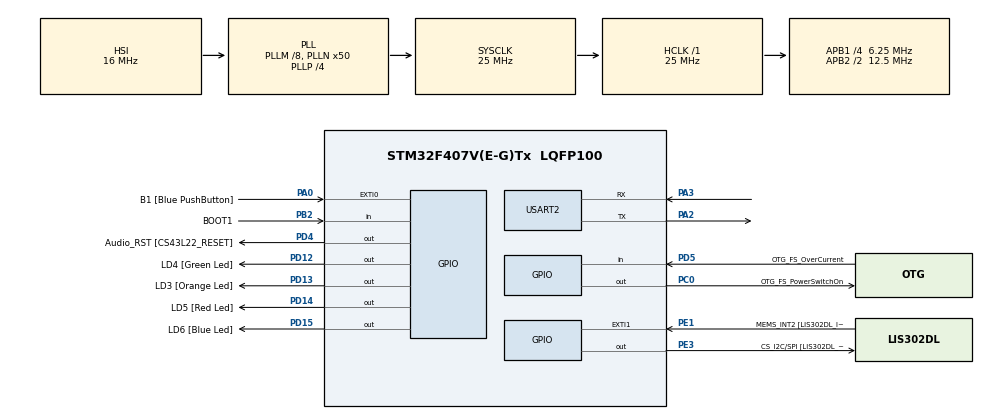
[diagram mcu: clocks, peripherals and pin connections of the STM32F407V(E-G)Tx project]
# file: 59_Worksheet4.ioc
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Mcu.Family=STM32F4
Mcu.Name=STM32F407V(E-G)Tx
Mcu.Package=LQFP100
NVIC.EXTI0_IRQn=true\:0\:0\:false\:false\:true\:true\:true\:true
NVIC.PriorityGroup=NVIC_PRIORITYGROUP_0
NVIC.USART2_IRQn=true\:0\:0\:false\:false\:true\:true\:true\:true
PA0-WKUP.GPIO_Label=B1 [Blue PushButton]
PA0-WKUP.Signal=GPXTI0
PA10.GPIO_Label=OTG_FS_ID
PA10.GPIO_Mode=GPIO_MODE_AF_PP
PA10.GPIO_PuPd=GPIO_NOPULL
PA10.GPIO_Speed=GPIO_SPEED_FREQ_LOW
PA10.Signal=USB_OTG_FS_ID
PA11.GPIO_Label=OTG_FS_DM
PA11.GPIO_Mode=GPIO_MODE_AF_PP
PA11.GPIO_PuPd=GPIO_NOPULL
PA11.GPIO_Speed=GPIO_SPEED_FREQ_LOW
PA11.Signal=USB_OTG_FS_DM
PA12.GPIO_Label=OTG_FS_DP
PA12.GPIO_Mode=GPIO_MODE_AF_PP
PA12.GPIO_PuPd=GPIO_NOPULL
PA12.GPIO_Speed=GPIO_SPEED_FREQ_LOW
PA12.Signal=USB_OTG_FS_DP
PA13.GPIO_Label=SWDIO
PA13.Signal=SYS_JTMS-SWDIO
PA14.GPIO_Label=SWCLK
PA14.Signal=SYS_JTCK-SWCLK
PA2.Mode=Asynchronous
PA2.Signal=USART2_TX
PA3.Mode=Asynchronous
PA3.Signal=USART2_RX
PA4.GPIO_Label=I2S3_WS [CS43L22_LRCK]
PA4.GPIO_Mode=GPIO_MODE_AF_PP
PA4.GPIO_PuPd=GPIO_NOPULL
PA4.GPIO_Speed=GPIO_SPEED_FREQ_LOW
PA4.Signal=I2S3_WS
PA5.GPIO_Label=SPI1_SCK [LIS302DL_SCL/SPC]
PA5.GPIO_Mode=GPIO_MODE_AF_PP
PA5.GPIO_PuPd=GPIO_NOPULL
PA5.GPIO_Speed=GPIO_SPEED_FREQ_LOW
PA5.Signal=SPI1_SCK
PA6.GPIO_Label=SPI1_MISO [LIS302DL_SDO]
PA6.GPIO_Mode=GPIO_MODE_AF_PP
PA6.GPIO_PuPd=GPIO_NOPULL
PA6.GPIO_Speed=GPIO_SPEED_FREQ_LOW
PA6.Signal=SPI1_MISO
PA7.GPIO_Label=SPI1_MOSI [LIS302DL_SDA/SDI/SDO]
PA7.GPIO_Mode=GPIO_MODE_AF_PP
PA7.GPIO_PuPd=GPIO_NOPULL
PA7.GPIO_Speed=GPIO_SPEED_FREQ_LOW
PA7.Signal=SPI1_MOSI
PA9.GPIO_Label=VBUS_FS
PA9.GPIO_Mode=GPIO_MODE_INPUT
PA9.GPIO_PuPd=GPIO_NOPULL
PA9.Signal=USB_OTG_FS_VBUS
PB10.GPIO_Label=CLK_IN [MP45DT02_CLK]
PB10.GPIO_Mode=GPIO_MODE_AF_PP
PB10.GPIO_PuPd=GPIO_NOPULL
PB10.GPIO_Speed=GPIO_SPEED_FREQ_LOW
PB10.Signal=I2S2_CK
PB2.GPIO_Label=BOOT1
PB2.GPIO_Mode=GPIO_MODE_INPUT
PB2.GPIO_PuPd=GPIO_NOPULL
PB2.Signal=GPIO_Input
PB3.GPIO_Label=SWO
PB3.Signal=SYS_JTDO-SWO
PB6.GPIO_Label=Audio_SCL [CS43L22_SCL]
PB6.GPIO_Mode=GPIO_MODE_AF_OD
PB6.GPIO_PuPd=GPIO_NOPULL
PB6.GPIO_Speed=GPIO_SPEED_FREQ_LOW
PB6.Signal=I2C1_SCL
PB9.GPIO_Label=Audio_SDA [CS43L22_SDA]
PB9.GPIO_Mode=GPIO_MODE_AF_OD
PB9.GPIO_PuPd=GPIO_NOPULL
PB9.GPIO_Speed=GPIO_SPEED_FREQ_LOW
PB9.Signal=I2C1_SDA
PC0.GPIO_Label=OTG_FS_PowerSwitchOn
PC0.GPIO_PuPd=GPIO_NOPULL
PC0.GPIO_Speed=GPIO_SPEED_FREQ_LOW
PC0.PinState=GPIO_PIN_SET
PC0.Signal=GPIO_Output
PC10.GPIO_Label=I2S3_SCK [CS43L22_SCLK]
PC10.GPIO_Mode=GPIO_MODE_AF_PP
PC10.GPIO_PuPd=GPIO_NOPULL
PC10.GPIO_Speed=GPIO_SPEED_FREQ_LOW
PC10.Signal=I2S3_CK
PC12.GPIO_Label=I2S3_SD [CS43L22_SDIN]
PC12.GPIO_Mode=GPIO_MODE_AF_PP
PC12.GPIO_PuPd=GPIO_NOPULL
PC12.GPIO_Speed=GPIO_SPEED_FREQ_LOW
PC12.Signal=I2S3_SD
PC14-OSC32_IN.GPIO_Label=PC14-OSC32_IN
PC14-OSC32_IN.Signal=RCC_OSC32_IN
PC15-OSC32_OUT.GPIO_Label=PC15-OSC32_OUT
PC15-OSC32_OUT.Signal=RCC_OSC32_OUT
PC3.GPIO_Label=PDM_OUT [MP45DT02_DOUT]
PC3.GPIO_Mode=GPIO_MODE_AF_PP
PC3.GPIO_PuPd=GPIO_NOPULL
PC3.GPIO_Speed=GPIO_SPEED_FREQ_LOW
PC3.Signal=I2S2_SD
PC7.GPIO_Label=I2S3_MCK [CS43L22_MCLK]
PC7.GPIO_Mode=GPIO_MODE_AF_PP
PC7.GPIO_PuPd=GPIO_NOPULL
PC7.GPIO_Speed=GPIO_SPEED_FREQ_LOW
PC7.Signal=I2S3_MCK
PD12.GPIO_Label=LD4 [Green Led]
PD12.GPIO_PuPd=GPIO_NOPULL
PD12.GPIO_Speed=GPIO_SPEED_FREQ_LOW
PD12.Signal=GPIO_Output
PD13.GPIO_Label=LD3 [Orange Led]
PD13.GPIO_PuPd=GPIO_NOPULL
PD13.GPIO_Speed=GPIO_SPEED_FREQ_LOW
PD13.Signal=GPIO_Output
PD14.GPIO_Label=LD5 [Red Led]
PD14.GPIO_PuPd=GPIO_NOPULL
PD14.GPIO_Speed=GPIO_SPEED_FREQ_LOW
PD14.Signal=GPIO_Output
PD15.GPIO_Label=LD6 [Blue Led]
PD15.GPIO_PuPd=GPIO_NOPULL
PD15.GPIO_Speed=GPIO_SPEED_FREQ_LOW
PD15.Signal=GPIO_Output
PD4.GPIO_Label=Audio_RST [CS43L22_RESET]
PD4.GPIO_PuPd=GPIO_NOPULL
PD4.GPIO_Speed=GPIO_SPEED_FREQ_LOW
PD4.Signal=GPIO_Output
PD5.GPIO_Label=OTG_FS_OverCurrent
PD5.GPIO_Mode=GPIO_MODE_INPUT
PD5.GPIO_PuPd=GPIO_NOPULL
PD5.Signal=GPIO_Input
PE1.GPIO_Label=MEMS_INT2 [LIS302DL_INT2]
PE1.GPIO_ModeDefaultEXTI=GPIO_MODE_EVT_RISING
PE1.GPIO_PuPd=GPIO_NOPULL
PE1.Signal=GPXTI1
PE3.GPIO_Label=CS_I2C/SPI [LIS302DL_CS_I2C/SPI]
PE3.GPIO_PuPd=GPIO_NOPULL
PE3.GPIO_Speed=GPIO_SPEED_FREQ_LOW
PE3.Signal=GPIO_Output
PH0-OSC_IN.GPIO_Label=PH0-OSC_IN
PH0-OSC_IN.Signal=RCC_OSC_IN
PH1-OSC_OUT.GPIO_Label=PH1-OSC_OUT
PH1-OSC_OUT.Signal=RCC_OSC_OUT
ProjectManager.HeapSize=0x200
ProjectManager.StackSize=0x400
ProjectManager.TargetToolchain=STM32CubeIDE
RCC.48MHZClocksFreq_Value=14285714.285714285
RCC.AHBFreq_Value=25000000
RCC.APB1CLKDivider=RCC_HCLK_DIV4
RCC.APB1Freq_Value=6250000
RCC.APB1TimFreq_Value=12500000
RCC.APB2CLKDivider=RCC_HCLK_DIV2
RCC.APB2Freq_Value=12500000
RCC.APB2TimFreq_Value=25000000
RCC.CortexFreq_Value=25000000
RCC.HCLKFreq_Value=25000000
RCC.HSE_VALUE=8000000
RCC.HSI_VALUE=16000000
RCC.LSE_VALUE=32768
RCC.PLLM=8
RCC.PLLN=50
RCC.PLLP=RCC_PLLP_DIV4
RCC.PLLQ=7
RCC.SYSCLKFreq_VALUE=25000000
RCC.SYSCLKSource=RCC_SYSCLKSOURCE_PLLCLK
RCC.VCOOutputFreq_Value=100000000
USART2.VirtualMode=VM_ASYNC
board=STM32F407G-DISC1

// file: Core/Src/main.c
/* USER CODE BEGIN Header */
/**
  ******************************************************************************
  * @file           : main.c
  * @brief          : Main program body
  ******************************************************************************
  * @attention
  *
  * Copyright (c) 2026 STMicroelectronics.
  * All rights reserved.
  *
  * This software is licensed under terms that can be found in the LICENSE file
  * in the root directory of this software component.
  * If no LICENSE file comes with this software, it is provided AS-IS.
  *
  ******************************************************************************
  */
/* USER CODE END Header */
#include "main.h"
#include <string.h>
#include <stdio.h>

UART_HandleTypeDef huart2;

/* USER CODE BEGIN PV */
char rx_data;
char rx_buffer[20];
uint8_t rx_index = 0;

char tx_msg[100];

uint8_t alert_flag = 0;
/* USER CODE END PV */

void SystemClock_Config(void);
static void MX_GPIO_Init(void);
static void MX_USART2_UART_Init(void);

int main(void)
{

  /* MCU Configuration--------------------------------------------------------*/

  /* Reset of all peripherals, Initializes the Flash interface and the Systick. */
  HAL_Init();

  /* Configure the system clock */
  SystemClock_Config();

  /* Initialize all configured peripherals */
  MX_GPIO_Init();
  MX_USART2_UART_Init();
  /* USER CODE BEGIN 2 */
  HAL_UART_Receive_IT(&huart2, (uint8_t *)&rx_data, 1);

  sprintf(tx_msg,"SMS Notifier Started\r\n");
  HAL_UART_Transmit(&huart2,(uint8_t*)tx_msg,strlen(tx_msg),100);
  /* USER CODE END 2 */

  /* Infinite loop */
  while (1)
  {

	  while(1)
	  {
	  }
  }
}

void SystemClock_Config(void)
{
  RCC_OscInitTypeDef RCC_OscInitStruct = {0};
  RCC_ClkInitTypeDef RCC_ClkInitStruct = {0};

  /** Configure the main internal regulator output voltage
  */
  __HAL_RCC_PWR_CLK_ENABLE();
  __HAL_PWR_VOLTAGESCALING_CONFIG(PWR_REGULATOR_VOLTAGE_SCALE1);

  /** Initializes the RCC Oscillators according to the specified parameters
  * in the RCC_OscInitTypeDef structure.
  */
  RCC_OscInitStruct.OscillatorType = RCC_OSCILLATORTYPE_HSI;
  RCC_OscInitStruct.HSIState = RCC_HSI_ON;
  RCC_OscInitStruct.HSICalibrationValue = RCC_HSICALIBRATION_DEFAULT;
  RCC_OscInitStruct.PLL.PLLState = RCC_PLL_ON;
  RCC_OscInitStruct.PLL.PLLSource = RCC_PLLSOURCE_HSI;
  RCC_OscInitStruct.PLL.PLLM = 8;
  RCC_OscInitStruct.PLL.PLLN = 50;
  RCC_OscInitStruct.PLL.PLLP = RCC_PLLP_DIV4;
  RCC_OscInitStruct.PLL.PLLQ = 7;
  if (HAL_RCC_OscConfig(&RCC_OscInitStruct) != HAL_OK)
  {
    Error_Handler();
  }

  /** Initializes the CPU, AHB and APB buses clocks
  */
  RCC_ClkInitStruct.ClockType = RCC_CLOCKTYPE_HCLK|RCC_CLOCKTYPE_SYSCLK
                              |RCC_CLOCKTYPE_PCLK1|RCC_CLOCKTYPE_PCLK2;
  RCC_ClkInitStruct.SYSCLKSource = RCC_SYSCLKSOURCE_PLLCLK;
  RCC_ClkInitStruct.AHBCLKDivider = RCC_SYSCLK_DIV1;
  RCC_ClkInitStruct.APB1CLKDivider = RCC_HCLK_DIV4;
  RCC_ClkInitStruct.APB2CLKDivider = RCC_HCLK_DIV2;

  if (HAL_RCC_ClockConfig(&RCC_ClkInitStruct, FLASH_LATENCY_0) != HAL_OK)
  {
    Error_Handler();
  }
}

static void MX_USART2_UART_Init(void)
{

  huart2.Instance = USART2;
  huart2.Init.BaudRate = 115200;
  huart2.Init.WordLength = UART_WORDLENGTH_8B;
  huart2.Init.StopBits = UART_STOPBITS_1;
  huart2.Init.Parity = UART_PARITY_NONE;
  huart2.Init.Mode = UART_MODE_TX_RX;
  huart2.Init.HwFlowCtl = UART_HWCONTROL_NONE;
  huart2.Init.OverSampling = UART_OVERSAMPLING_16;
  if (HAL_UART_Init(&huart2) != HAL_OK)
  {
    Error_Handler();
  }

}

static void MX_GPIO_Init(void)
{
  GPIO_InitTypeDef GPIO_InitStruct = {0};

  /* GPIO Ports Clock Enable */
  __HAL_RCC_GPIOE_CLK_ENABLE();
  __HAL_RCC_GPIOC_CLK_ENABLE();
  __HAL_RCC_GPIOH_CLK_ENABLE();
  __HAL_RCC_GPIOA_CLK_ENABLE();
  __HAL_RCC_GPIOB_CLK_ENABLE();
  __HAL_RCC_GPIOD_CLK_ENABLE();

  /*Configure GPIO pin Output Level */
  HAL_GPIO_WritePin(CS_I2C_SPI_GPIO_Port, CS_I2C_SPI_Pin, GPIO_PIN_RESET);

  /*Configure GPIO pin Output Level */
  HAL_GPIO_WritePin(OTG_FS_PowerSwitchOn_GPIO_Port, OTG_FS_PowerSwitchOn_Pin, GPIO_PIN_SET);

  /*Configure GPIO pin Output Level */
  HAL_GPIO_WritePin(GPIOD, LD4_Pin|LD3_Pin|LD5_Pin|LD6_Pin
                          |Audio_RST_Pin, GPIO_PIN_RESET);

  /*Configure GPIO pin : CS_I2C_SPI_Pin */
  GPIO_InitStruct.Pin = CS_I2C_SPI_Pin;
  GPIO_InitStruct.Mode = GPIO_MODE_OUTPUT_PP;
  GPIO_InitStruct.Pull = GPIO_NOPULL;
  GPIO_InitStruct.Speed = GPIO_SPEED_FREQ_LOW;
  HAL_GPIO_Init(CS_I2C_SPI_GPIO_Port, &GPIO_InitStruct);

  /*Configure GPIO pin : OTG_FS_PowerSwitchOn_Pin */
  GPIO_InitStruct.Pin = OTG_FS_PowerSwitchOn_Pin;
  GPIO_InitStruct.Mode = GPIO_MODE_OUTPUT_PP;
  GPIO_InitStruct.Pull = GPIO_NOPULL;
  GPIO_InitStruct.Speed = GPIO_SPEED_FREQ_LOW;
  HAL_GPIO_Init(OTG_FS_PowerSwitchOn_GPIO_Port, &GPIO_InitStruct);

  /*Configure GPIO pin : PDM_OUT_Pin */
  GPIO_InitStruct.Pin = PDM_OUT_Pin;
  GPIO_InitStruct.Mode = GPIO_MODE_AF_PP;
  GPIO_InitStruct.Pull = GPIO_NOPULL;
  GPIO_InitStruct.Speed = GPIO_SPEED_FREQ_LOW;
  GPIO_InitStruct.Alternate = GPIO_AF5_SPI2;
  HAL_GPIO_Init(PDM_OUT_GPIO_Port, &GPIO_InitStruct);

  /*Configure GPIO pin : B1_Pin */
  GPIO_InitStruct.Pin = B1_Pin;
  GPIO_InitStruct.Mode = GPIO_MODE_IT_RISING;
  GPIO_InitStruct.Pull = GPIO_NOPULL;
  HAL_GPIO_Init(B1_GPIO_Port, &GPIO_InitStruct);

  /*Configure GPIO pin : I2S3_WS_Pin */
  GPIO_InitStruct.Pin = I2S3_WS_Pin;
  GPIO_InitStruct.Mode = GPIO_MODE_AF_PP;
  GPIO_InitStruct.Pull = GPIO_NOPULL;
  GPIO_InitStruct.Speed = GPIO_SPEED_FREQ_LOW;
  GPIO_InitStruct.Alternate = GPIO_AF6_SPI3;
  HAL_GPIO_Init(I2S3_WS_GPIO_Port, &GPIO_InitStruct);

  /*Configure GPIO pins : SPI1_SCK_Pin SPI1_MISO_Pin SPI1_MOSI_Pin */
  GPIO_InitStruct.Pin = SPI1_SCK_Pin|SPI1_MISO_Pin|SPI1_MOSI_Pin;
  GPIO_InitStruct.Mode = GPIO_MODE_AF_PP;
  GPIO_InitStruct.Pull = GPIO_NOPULL;
  GPIO_InitStruct.Speed = GPIO_SPEED_FREQ_LOW;
  GPIO_InitStruct.Alternate = GPIO_AF5_SPI1;
  HAL_GPIO_Init(GPIOA, &GPIO_InitStruct);

  /*Configure GPIO pin : BOOT1_Pin */
  GPIO_InitStruct.Pin = BOOT1_Pin;
  GPIO_InitStruct.Mode = GPIO_MODE_INPUT;
  GPIO_InitStruct.Pull = GPIO_NOPULL;
  HAL_GPIO_Init(BOOT1_GPIO_Port, &GPIO_InitStruct);

  /*Configure GPIO pin : CLK_IN_Pin */
  GPIO_InitStruct.Pin = CLK_IN_Pin;
  GPIO_InitStruct.Mode = GPIO_MODE_AF_PP;
  GPIO_InitStruct.Pull = GPIO_NOPULL;
  GPIO_InitStruct.Speed = GPIO_SPEED_FREQ_LOW;
  GPIO_InitStruct.Alternate = GPIO_AF5_SPI2;
  HAL_GPIO_Init(CLK_IN_GPIO_Port, &GPIO_InitStruct);

  /*Configure GPIO pins : LD4_Pin LD3_Pin LD5_Pin LD6_Pin
                           Audio_RST_Pin */
  GPIO_InitStruct.Pin = LD4_Pin|LD3_Pin|LD5_Pin|LD6_Pin
                          |Audio_RST_Pin;
  GPIO_InitStruct.Mode = GPIO_MODE_OUTPUT_PP;
  GPIO_InitStruct.Pull = GPIO_NOPULL;
  GPIO_InitStruct.Speed = GPIO_SPEED_FREQ_LOW;
  HAL_GPIO_Init(GPIOD, &GPIO_InitStruct);

  /*Configure GPIO pins : I2S3_MCK_Pin I2S3_SCK_Pin I2S3_SD_Pin */
  GPIO_InitStruct.Pin = I2S3_MCK_Pin|I2S3_SCK_Pin|I2S3_SD_Pin;
  GPIO_InitStruct.Mode = GPIO_MODE_AF_PP;
  GPIO_InitStruct.Pull = GPIO_NOPULL;
  GPIO_InitStruct.Speed = GPIO_SPEED_FREQ_LOW;
  GPIO_InitStruct.Alternate = GPIO_AF6_SPI3;
  HAL_GPIO_Init(GPIOC, &GPIO_InitStruct);

  /*Configure GPIO pin : VBUS_FS_Pin */
  GPIO_InitStruct.Pin = VBUS_FS_Pin;
  GPIO_InitStruct.Mode = GPIO_MODE_INPUT;
  GPIO_InitStruct.Pull = GPIO_NOPULL;
  HAL_GPIO_Init(VBUS_FS_GPIO_Port, &GPIO_InitStruct);

  /*Configure GPIO pins : OTG_FS_ID_Pin OTG_FS_DM_Pin OTG_FS_DP_Pin */
  GPIO_InitStruct.Pin = OTG_FS_ID_Pin|OTG_FS_DM_Pin|OTG_FS_DP_Pin;
  GPIO_InitStruct.Mode = GPIO_MODE_AF_PP;
  GPIO_InitStruct.Pull = GPIO_NOPULL;
  GPIO_InitStruct.Speed = GPIO_SPEED_FREQ_LOW;
  GPIO_InitStruct.Alternate = GPIO_AF10_OTG_FS;
  HAL_GPIO_Init(GPIOA, &GPIO_InitStruct);

  /*Configure GPIO pin : OTG_FS_OverCurrent_Pin */
  GPIO_InitStruct.Pin = OTG_FS_OverCurrent_Pin;
  GPIO_InitStruct.Mode = GPIO_MODE_INPUT;
  GPIO_InitStruct.Pull = GPIO_NOPULL;
  HAL_GPIO_Init(OTG_FS_OverCurrent_GPIO_Port, &GPIO_InitStruct);

  /*Configure GPIO pins : Audio_SCL_Pin Audio_SDA_Pin */
  GPIO_InitStruct.Pin = Audio_SCL_Pin|Audio_SDA_Pin;
  GPIO_InitStruct.Mode = GPIO_MODE_AF_OD;
  GPIO_InitStruct.Pull = GPIO_NOPULL;
  GPIO_InitStruct.Speed = GPIO_SPEED_FREQ_LOW;
  GPIO_InitStruct.Alternate = GPIO_AF4_I2C1;
  HAL_GPIO_Init(GPIOB, &GPIO_InitStruct);

  /*Configure GPIO pin : MEMS_INT2_Pin */
  GPIO_InitStruct.Pin = MEMS_INT2_Pin;
  GPIO_InitStruct.Mode = GPIO_MODE_EVT_RISING;
  GPIO_InitStruct.Pull = GPIO_NOPULL;
  HAL_GPIO_Init(MEMS_INT2_GPIO_Port, &GPIO_InitStruct);

  /* EXTI interrupt init*/
  HAL_NVIC_SetPriority(EXTI0_IRQn, 0, 0);
  HAL_NVIC_EnableIRQ(EXTI0_IRQn);

}

/* USER CODE BEGIN 4 */
void HAL_GPIO_EXTI_Callback(uint16_t GPIO_Pin)
{
    if(GPIO_Pin == GPIO_PIN_0)
    {
        alert_flag = 1;

        HAL_GPIO_WritePin(GPIOD, GPIO_PIN_14, GPIO_PIN_SET);

        sprintf(tx_msg,
                "\r\nSMS SENT : ALERT CONDITION DETECTED\r\n");

        HAL_UART_Transmit(&huart2,
                          (uint8_t*)tx_msg,
                          strlen(tx_msg),
                          100);

        HAL_GPIO_WritePin(GPIOD, GPIO_PIN_12, GPIO_PIN_SET);
    }
}
/* USER CODE END 4 */

void HAL_UART_RxCpltCallback(UART_HandleTypeDef *huart)
{
    if(huart->Instance == USART2)
    {
        if(rx_data != '\r' && rx_data != '\n')
        {
            rx_buffer[rx_index++] = rx_data;
        }
        else
        {
            rx_buffer[rx_index] = '\0';

            if(strcmp(rx_buffer,"STATUS") == 0)
            {
                sprintf(tx_msg,
                        "\r\nSMS RECEIVED : STATUS\r\nSYSTEM OK\r\n");

                HAL_UART_Transmit(&huart2,
                                  (uint8_t*)tx_msg,
                                  strlen(tx_msg),
                                  100);

                HAL_GPIO_WritePin(GPIOD,
                                  GPIO_PIN_15,
                                  GPIO_PIN_SET);
            }

            else if(strcmp(rx_buffer,"RESET") == 0)
            {
                alert_flag = 0;

                HAL_GPIO_WritePin(GPIOD,
                                  GPIO_PIN_14,
                                  GPIO_PIN_RESET);

                sprintf(tx_msg,
                        "\r\nSMS RECEIVED : RESET\r\nALERT RESET\r\n");

                HAL_UART_Transmit(&huart2,
                                  (uint8_t*)tx_msg,
                                  strlen(tx_msg),
                                  100);

                HAL_GPIO_WritePin(GPIOD,
                                  GPIO_PIN_13,
                                  GPIO_PIN_SET);
            }

            rx_index = 0;
            memset(rx_buffer,0,sizeof(rx_buffer));
        }

        HAL_UART_Receive_IT(&huart2,
                            (uint8_t *)&rx_data,
                            1);
    }
}
void Error_Handler(void)
{
  __disable_irq();
  while (1)
  {
  }
}
